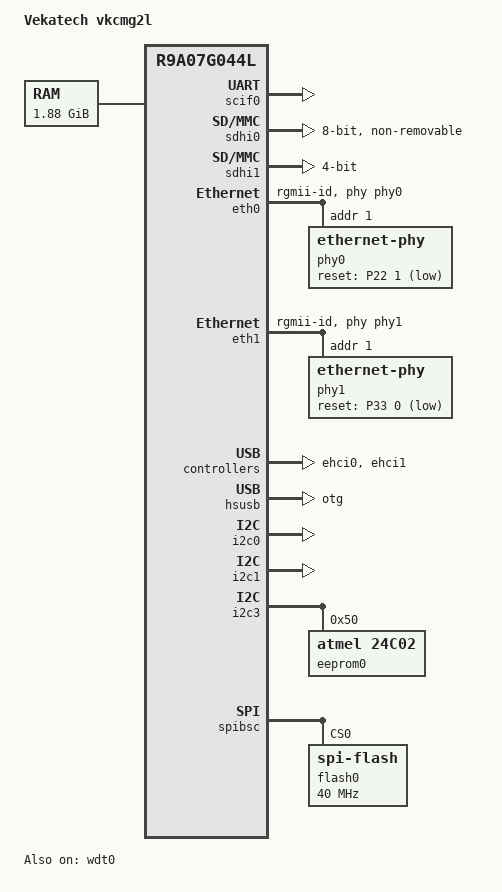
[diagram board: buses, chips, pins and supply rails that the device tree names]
// SPDX-License-Identifier: GPL-2.0
/*
 * Device Tree Source for the VK-CMRZ/G2L board
 *
 */

/dts-v1/;
#include <dt-bindings/gpio/gpio.h>
#include "r9a07g044l.dtsi"
#include "r9a07g044l-u-boot.dtsi"
#include <dt-bindings/pinctrl/rzg2l-pinctrl.h>

/ {
        model = "Vekatech vkcmg2l";
        compatible = "renesas,r9a07g044l", "renesas,rzg2l";

        aliases {
                serial0 = &scif0;
                spi0 = &spibsc;
                ethernet0 = &eth0;
                ethernet1 = &eth1;
        };

        chosen {
                stdout-path = "serial0:115200n8";
        };

        memory@48000000 {
                device_type = "memory";
                /* first 128MB is reserved for secure area. */
                reg = <0 0x48000000 0 0x78000000>;
        };
};

&pinctrl {
        eth0_pins: eth0 {
                pinmux = <RZG2L_PINMUX(28, 1, 1)>, /* ET0_LINKSTA */
                         <RZG2L_PINMUX(27, 1, 1)>, /* ET0_MDC */
                         <RZG2L_PINMUX(28, 0, 1)>, /* ET0_MDIO */
                         <RZG2L_PINMUX(20, 0, 1)>, /* ET0_TXC */
                         <RZG2L_PINMUX(20, 1, 1)>, /* ET0_TX_CTL */
                         <RZG2L_PINMUX(20, 2, 1)>, /* ET0_TXD0 */
                         <RZG2L_PINMUX(21, 0, 1)>, /* ET0_TXD1 */
                         <RZG2L_PINMUX(21, 1, 1)>, /* ET0_TXD2 */
                         <RZG2L_PINMUX(22, 0, 1)>, /* ET0_TXD3 */
                         <RZG2L_PINMUX(24, 0, 1)>, /* ET0_RXC */
                         <RZG2L_PINMUX(24, 1, 1)>, /* ET0_RX_CTL */
                         <RZG2L_PINMUX(25, 0, 1)>, /* ET0_RXD0 */
                         <RZG2L_PINMUX(25, 1, 1)>, /* ET0_RXD1 */
                         <RZG2L_PINMUX(26, 0, 1)>, /* ET0_RXD2 */
                         <RZG2L_PINMUX(26, 1, 1)>; /* ET0_RXD3 */
        };

        eth1_pins: eth1 {
                pinmux = <RZG2L_PINMUX(37, 2, 1)>, /* ET1_LINKSTA */
                         <RZG2L_PINMUX(37, 0, 1)>, /* ET1_MDC */
                         <RZG2L_PINMUX(37, 1, 1)>, /* ET1_MDIO */
                         <RZG2L_PINMUX(29, 0, 1)>, /* ET1_TXC */
                         <RZG2L_PINMUX(29, 1, 1)>, /* ET1_TX_CTL */
                         <RZG2L_PINMUX(30, 0, 1)>, /* ET1_TXD0 */
                         <RZG2L_PINMUX(30, 1, 1)>, /* ET1_TXD1 */
                         <RZG2L_PINMUX(31, 0, 1)>, /* ET1_TXD2 */
                         <RZG2L_PINMUX(31, 1, 1)>, /* ET1_TXD3 */
                         <RZG2L_PINMUX(33, 1, 1)>, /* ET1_RXC */
                         <RZG2L_PINMUX(34, 0, 1)>, /* ET1_RX_CTL */
                         <RZG2L_PINMUX(34, 1, 1)>, /* ET1_RXD0 */
                         <RZG2L_PINMUX(35, 0, 1)>, /* ET1_RXD1 */
                         <RZG2L_PINMUX(35, 1, 1)>, /* ET1_RXD2 */
                         <RZG2L_PINMUX(36, 0, 1)>; /* ET1_RXD3 */
        };

        i2c3_pins: i2c3 {
                pinmux = <RZG2L_PINMUX(18, 0, 3)>,
                         <RZG2L_PINMUX(18, 1, 3)>;
        }; 
};

&xinclk {
        clock-frequency = <24000000>;
};

&scif0 {
        status = "okay";
        clock = <100000000>;
};

&sdhi0 {
        bus-width = <8>;
	non-removable; /* Forces U-Boot to assume the card is instantly present */
        status = "okay";
};

&sdhi1 {
        bus-width = <4>;
        status = "okay";
};

&eth0 {
        pinctrl-names = "default";
        pinctrl-0 = <&eth0_pins>;
        phy-handle = <&phy0>;
        phy-mode = "rgmii-id";
        status = "okay";

        phy0: ethernet-phy@1 {
                reg = <1>;
                reset-gpios = <&P22 1 (GPIO_ACTIVE_LOW|GPIO_OPEN_DRAIN)>;
        };
};

&eth1 {
        pinctrl-names = "default";
        pinctrl-0 = <&eth1_pins>;
        phy-handle = <&phy1>;
        phy-mode = "rgmii-id";
        status = "okay";

        phy1: ethernet-phy@1 {
                reg = <1>;
                reset-gpios = <&P33 0 (GPIO_ACTIVE_LOW|GPIO_OPEN_DRAIN)>;
        };
};

&ehci0 {
        status = "okay";
}; 

&ehci1 {
        status = "okay";
};

&hsusb {
	dr_mode = "otg";
	status = "okay";
};

&i2c0 {
        pinctrl-names = "default";
        status = "okay";
};

&i2c1 {
        pinctrl-names = "default";
        status = "okay";
};


&i2c3 {
        pinctrl-0 = <&i2c3_pins>;
        pinctrl-names = "default";
        status = "okay";


	eeprom0: eeprom@50 {
		compatible = "atmel,24c02";
		reg = <0x50>;
		pagesize = <16>;
	};
};

&spibsc {
        num-cs = <1>;
        status = "okay";
        spi-max-frequency = <40000000>;
        #address-cells = <1>;
        #size-cells = <0>;
        flash0: spi-flash@0 {
                #address-cells = <1>;
                #size-cells = <1>;
                compatible = "spi-flash", "jedec,spi-nor";
                spi-max-frequency = <40000000>;
                spi-tx-bus-width = <1>;
                spi-rx-bus-width = <1>;
                reg = <0>;
                status = "okay";
        };
};

&wdt0 {
        status = "okay";
        timeout-sec = <60>;
};
